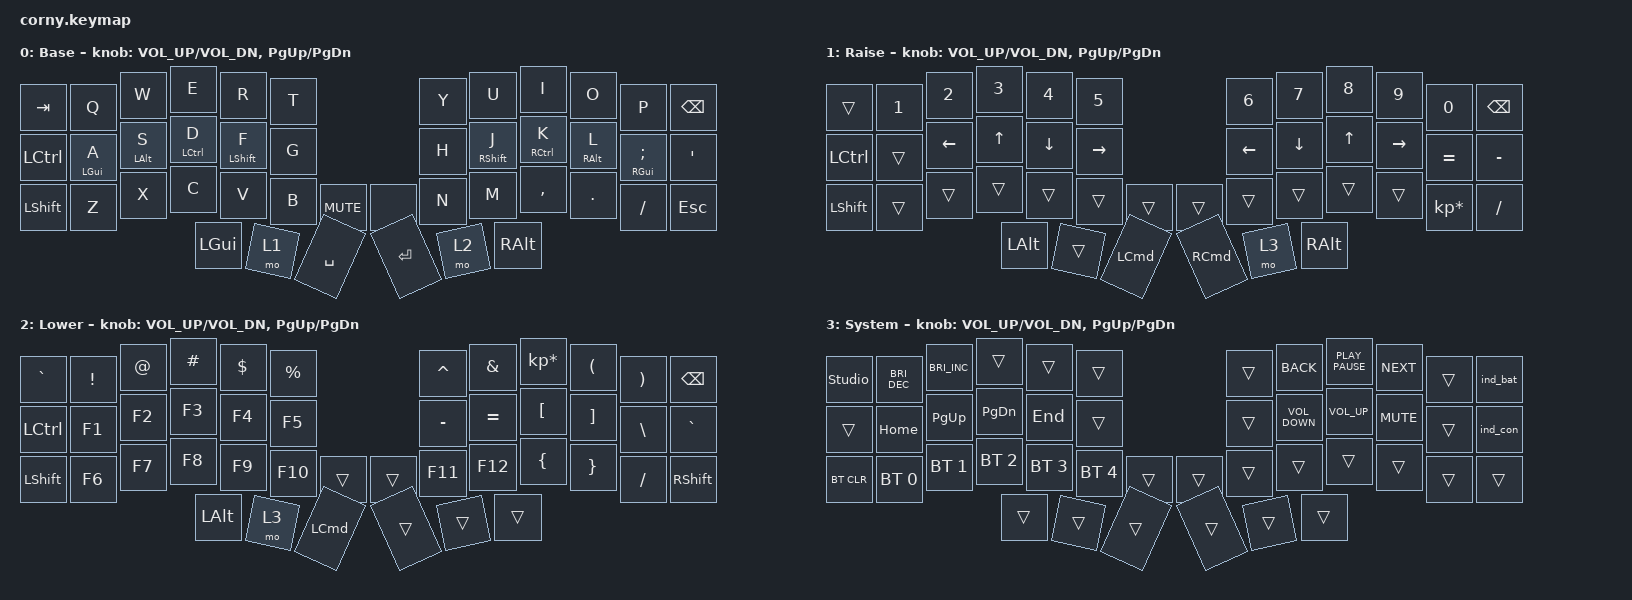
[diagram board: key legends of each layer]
/*
 * Corne XIAO (shield corny) - 44 posicoes
 *
 * Ordem das posicoes (importa pros combos):
 *   linha 0:  0..11
 *   linha 1: 12..23
 *   linha 2: 24..29 (esq) | 30 31 (centrais SW22) | 32..37 (dir)
 *   linha 3: 38..40 (esq) | 41..43 (dir)
 */

#include <behaviors.dtsi>
#include <dt-bindings/zmk/bt.h>
#include <dt-bindings/zmk/keys.h>

// behaviors &ind_bat / &ind_con / &ind_lyr do modulo zmk-rgbled-widget
#include <behaviors/rgbled_widget.dtsi>

/ {
  behaviors {
    hm: homerow_mods {
      compatible = "zmk,behavior-hold-tap";
      label = "HOMEROW_MODS";
      #binding-cells = <2>;
      tapping-term-ms = <150>;
      quick-tap-ms = <0>;
      flavor = "tap-preferred";
      bindings = <&kp>, <&kp>;
    };
  };

  combos {
    compatible = "zmk,combos";

    tab {
      bindings = <&trans>;
      key-positions = <2 3>;
    };

    ctrl {
      bindings = <&kp LCTRL>;
      key-positions = <26 27>;
    };

    // reindexado de <37 38> (layout 42) para <39 40> (layout 44)
    cmd {
      bindings = <&kp LCMD>;
      key-positions = <39 40>;
    };

    // reindexado de <39 40> para <41 42>
    alt {
      bindings = <&kp LEFT_ALT>;
      key-positions = <41 42>;
    };

    shift {
      bindings = <&kp LSHIFT>;
      key-positions = <8 9>;
    };

    caps_word {
      bindings = <&caps_word>;
      key-positions = <17 18>;
    };

    // reindexado de <32 33> para <34 35>
    delete {
      bindings = <&kp DEL>;
      key-positions = <34 35>;
    };
  };

  macros {
    zed_em_kay: zed_em_kay {
      compatible = "zmk,behavior-macro";
      label = "ZM_zed_em_kay";
      #binding-cells = <0>;
      bindings =
        <&macro_press>,
        <&kp LSHFT>,
        <&macro_tap>,
        <&kp Z &kp M &kp K>,
        <&macro_release>,
        <&kp LSHFT>;
    };
  };

  keymap {
    compatible = "zmk,keymap";

    base {
      display-name = "Base";
      bindings = <
&kp TAB    &kp Q       &kp W       &kp E        &kp R         &kp T                                     &kp Y    &kp U         &kp I        &kp O       &kp P          &kp BACKSPACE
&kp LCTRL  &hm LGUI A  &hm LALT S  &hm LCTRL D  &hm LSHIFT F  &kp G                                     &kp H    &hm RSHIFT J  &hm RCTRL K  &hm RALT L  &hm RGUI SEMI  &kp APOS
&kp LSHFT  &kp Z       &kp X       &kp C        &kp V         &kp B         &kp C_MUTE     &none        &kp N    &kp M         &kp COMMA    &kp DOT     &kp FSLH       &kp ESC
                                   &kp LGUI     &mo 1         &kp SPACE                                 &kp RET  &mo 2         &kp RALT
      >;

      sensor-bindings = <&inc_dec_kp C_VOL_UP C_VOL_DN &inc_dec_kp PG_UP PG_DN>;
    };

    raise {
      display-name = "Raise";
      bindings = <
&trans            &kp N1  &kp N2          &kp N3        &kp N4          &kp N5                              &kp N6             &kp N7          &kp N8         &kp N9           &kp N0           &kp BACKSPACE
&kp LEFT_CONTROL  &trans  &kp LEFT_ARROW  &kp UP_ARROW  &kp DOWN_ARROW  &kp RIGHT_ARROW                     &kp LEFT_ARROW     &kp DOWN_ARROW  &kp UP_ARROW   &kp RIGHT_ARROW  &kp EQUAL        &kp MINUS
&kp LEFT_SHIFT    &trans  &trans          &trans        &trans          &trans           &trans     &trans   &trans             &trans          &trans         &trans           &kp KP_MULTIPLY  &kp SLASH
                                          &kp LEFT_ALT  &trans          &kp LEFT_COMMAND                    &kp RIGHT_COMMAND  &mo 3           &kp RIGHT_ALT
      >;

      sensor-bindings = <&inc_dec_kp C_VOL_UP C_VOL_DN &inc_dec_kp PG_UP PG_DN>;
    };

    lower {
      display-name = "Lower";
      bindings = <
&kp GRAVE         &kp EXCL  &kp AT  &kp HASH      &kp DLLR  &kp PRCNT                        &kp CARET  &kp AMPS   &kp KP_MULTIPLY  &kp LPAR  &kp RPAR   &kp BACKSPACE
&kp LEFT_CONTROL  &kp F1    &kp F2  &kp F3        &kp F4    &kp F5                           &kp MINUS  &kp EQUAL  &kp LBKT         &kp RBKT  &kp BSLH   &kp GRAVE
&kp LEFT_SHIFT    &kp F6    &kp F7  &kp F8        &kp F9    &kp F10    &trans     &trans     &kp F11    &kp F12    &kp LBRC         &kp RBRC  &kp SLASH  &kp RIGHT_SHIFT
                                    &kp LEFT_ALT  &mo 3     &kp LEFT_COMMAND                 &trans     &trans     &trans
      >;

      sensor-bindings = <&inc_dec_kp C_VOL_UP C_VOL_DN &inc_dec_kp PG_UP PG_DN>;
    };

    both {
      display-name = "System";
      bindings = <
&studio_unlock  &kp C_BRIGHTNESS_DEC  &kp C_BRIGHTNESS_INC  &trans         &trans        &trans                            &trans  &kp K_BACK         &kp K_PLAY_PAUSE  &kp K_NEXT  &trans  &ind_bat
&trans          &kp HOME              &kp PAGE_UP           &kp PAGE_DOWN  &kp END       &trans                            &trans  &kp C_VOLUME_DOWN  &kp C_VOLUME_UP   &kp K_MUTE  &trans  &ind_con
&bt BT_CLR      &bt BT_SEL 0          &bt BT_SEL 1          &bt BT_SEL 2   &bt BT_SEL 3  &bt BT_SEL 4  &trans     &trans   &trans  &trans             &trans            &trans      &trans  &trans
                                                            &trans         &trans        &trans                            &trans  &trans             &trans
      >;

      sensor-bindings = <&inc_dec_kp C_VOL_UP C_VOL_DN &inc_dec_kp PG_UP PG_DN>;
    };
  };
};
